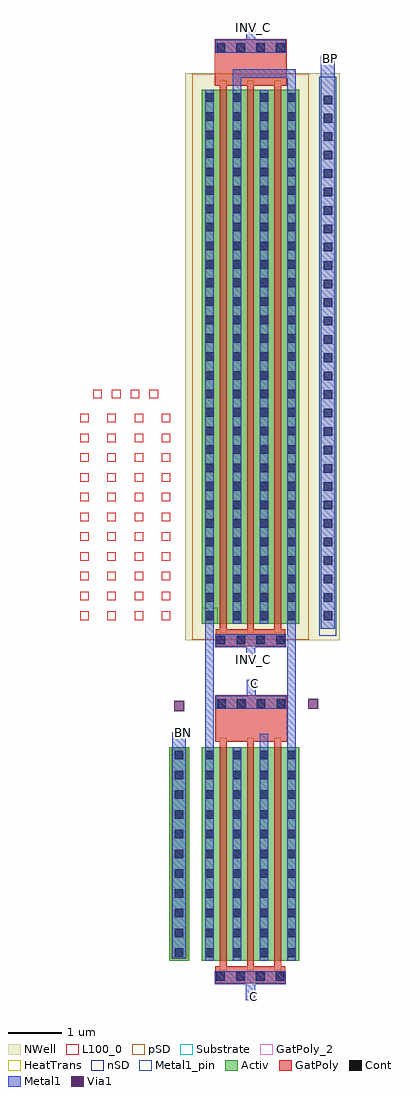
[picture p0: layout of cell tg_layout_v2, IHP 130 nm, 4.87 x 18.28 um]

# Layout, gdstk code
from math import pi, radians
import gdstk
lib = gdstk.Library(unit=1e-6, precision=1e-09)
def R(c, l, rs):  # rectangles x0, y0, x1, y1
    for r in rs: c.add(gdstk.rectangle(r[:2], r[2:], *l))
def A(c, l, x, y, w, h, nx, ny, dx, dy):  # array of equal rectangles
    R(c, l, [(x+i*dx, y+j*dy, x+i*dx+w, y+j*dy+h) for i in range(nx) for j in range(ny)])
Activ = (1, 0)
GatPoly = (5, 0)
GatPoly_2 = (5, 2)
Cont = (6, 0)
nSD = (7, 0)
Metal1 = (8, 0)
Metal1_pin = (8, 2)
pSD = (14, 0)
Via1 = (19, 0)
NWell = (31, 0)
Substrate = (40, 0)
HeatTrans = (51, 0)
L100_0 = (100, 0)

pmos_1 = lib.new_cell('pmos$1')
A(pmos_1, Activ, 0, 0, 0.3, 0.3, 4, 1, 0.51, 0)
R(pmos_1, Activ, [(0,0,1.83,10)])
A(pmos_1, GatPoly, 0.34, -0.18, 0.13, 10.36, 3, 1, 0.51, 0)
R(pmos_1, GatPoly, [(0.34,-0.18,0.47,10.18)])
A(pmos_1, Cont, 0.07, 0.07, 0.16, 0.16, 4, 4, 0.51, 0.345)
A(pmos_1, Cont, 0.07, 1.455, 0.16, 0.16, 4, 3, 0.51, 0.345)
A(pmos_1, Cont, 0.07, 2.495, 0.16, 0.16, 4, 4, 0.51, 0.345)
A(pmos_1, Cont, 0.07, 3.88, 0.16, 0.16, 4, 3, 0.51, 0.345)
A(pmos_1, Cont, 0.07, 4.92, 0.16, 0.16, 4, 4, 0.51, 0.345)
A(pmos_1, Cont, 0.07, 6.305, 0.16, 0.16, 4, 3, 0.51, 0.345)
A(pmos_1, Cont, 0.07, 7.345, 0.16, 0.16, 4, 4, 0.51, 0.345)
A(pmos_1, Cont, 0.07, 8.73, 0.16, 0.16, 4, 3, 0.51, 0.345)
A(pmos_1, Cont, 0.07, 9.77, 0.16, 0.16, 4, 1, 0.51, 0)
A(pmos_1, Metal1, 0.58, 0, 0.16, 10, 3, 1, 0.51, 0)
R(pmos_1, Metal1, [(0.07,0,0.23,10), (0.07,0,0.23,10), (0.58,0,0.74,10)])
R(pmos_1, pSD, [(-0.18,-0.3,2.01,10.3)])
R(pmos_1, NWell, [(-0.31,-0.31,2.14,10.31)])
R(pmos_1, Substrate, [(1.53,0,1.83,0.3)])
A(pmos_1, HeatTrans, 0.34, -0.18, 0.13, 10.36, 3, 1, 0.51, 0)
pmos_1.add(gdstk.Label('pmos', (0.405,5), layer=63, texttype=0))
pmos_1.add(gdstk.Label('pmos', (0.405,5), layer=51, texttype=0))
pmos_1.add(gdstk.Label('pmos', (0.915,5), layer=51, texttype=0))
pmos_1.add(gdstk.Label('pmos', (1.425,5), layer=51, texttype=0))

nmos = lib.new_cell('nmos')
A(nmos, Activ, 0, 0, 0.3, 0.3, 4, 1, 0.51, 0)
R(nmos, Activ, [(0,0,1.83,4)])
A(nmos, GatPoly, 0.34, -0.18, 0.13, 4.36, 3, 1, 0.51, 0)
R(nmos, GatPoly_2, [(0.34,-0.18,0.47,4.18)])
A(nmos, Cont, 0.07, 0.07, 0.16, 0.16, 4, 11, 0.51, 0.37)
A(nmos, Metal1, 0.07, 0, 0.16, 4, 4, 1, 0.51, 0)
R(nmos, Metal1_pin, [(0.07,0,0.23,4), (0.58,0,0.74,4)])
A(nmos, HeatTrans, 0.34, -0.18, 0.13, 4.36, 3, 1, 0.51, 0)
nmos.add(gdstk.Label('nmos', (0.405,2), layer=63, texttype=0))
nmos.add(gdstk.Label('nmos', (0.405,2), layer=51, texttype=0))
nmos.add(gdstk.Label('nmos', (0.915,2), layer=51, texttype=0))
nmos.add(gdstk.Label('nmos', (1.425,2), layer=51, texttype=0))

tg_layout_v2 = lib.new_cell('tg_layout_v2')
R(tg_layout_v2, Activ, [(-2.65,-6.709,-2.275,-2.709)])
R(tg_layout_v2, GatPoly, [(-1.783,-7.131,-0.478,-6.811), (-1.785,-2.61,-0.44,-1.74), (-1.775,-0.825,-0.47,-0.505), (-1.795,9.67,-0.45,10.54)])
A(tg_layout_v2, Cont, -1.763, -7.086, 0.16, 0.16, 4, 1, 0.37, 0)
A(tg_layout_v2, Cont, -2.545, -6.639, 0.16, 0.16, 1, 10, 0, 0.37)
A(tg_layout_v2, Cont, -1.748, -1.969, 0.16, 0.16, 4, 1, 0.37, 0)
A(tg_layout_v2, Cont, -1.755, -0.78, 0.16, 0.16, 4, 1, 0.37, 0)
A(tg_layout_v2, Cont, 0.245, -0.33, 0.16, 0.16, 1, 3, 0, 0.345)
A(tg_layout_v2, Cont, 0.244, 0.705, 0.16, 0.16, 1, 3, 0, 0.345)
A(tg_layout_v2, Cont, 0.244, 2.776, 0.16, 0.16, 1, 12, 0, 0.345)
A(tg_layout_v2, Cont, 0.244, 6.915, 0.16, 0.16, 1, 8, 0, 0.345)
A(tg_layout_v2, Cont, -1.758, 10.311, 0.16, 0.16, 4, 1, 0.37, 0)
R(tg_layout_v2, Cont, [(-2.545,-2.94,-2.385,-2.78), (0.244,1.741,0.404,1.901), (0.244,2.086,0.404,2.246), (0.244,2.43,0.404,2.59)])
R(tg_layout_v2, nSD, [(0.164,-0.625,0.484,9.845)])
R(tg_layout_v2, Metal1, [(-1.21,-7.445,-1.04,-6.91), (-1.793,-7.146,-0.468,-6.906), (-2.59,-6.664,-2.34,-2.429), (-1.97,-2.71,-1.81,-0.4), (-0.95,-2.71,-0.79,-2.46), (-0.95,-2.71,-0.79,-2.46), (-0.44,-2.71,-0.28,-0.4), (-1.778,-1.989,-0.453,-1.749), (-1.195,-1.985,-1.025,-1.45), (-1.202,-1.139,-1.032,-0.604), (-1.785,-0.84,-0.46,-0.6), (0.19,-0.495,0.45,10.235), (-1.46,9.6,-1.3,9.985), (-0.44,9.6,-0.28,9.985), (-1.3,9.825,-0.44,9.985), (-1.788,10.291,-0.463,10.531), (-1.205,10.295,-1.035,10.83)])
R(tg_layout_v2, pSD, [(-2.61,-6.674,-2.31,-2.744)])
R(tg_layout_v2, Via1, [(-2.555,-2.035,-2.365,-1.845), (-0.045,-1.995,0.145,-1.805)])
R(tg_layout_v2, NWell, [(0.099,-0.71,0.55,9.91)])
A(tg_layout_v2, L100_0, -4.073, 3.823, 0.162, 0.162, 4, 1, 0.352, 0)
R(tg_layout_v2, L100_0, [(-4.317,-0.33,-4.155,-0.168), (-4.317,-0.33,-4.155,-0.168), (-3.807,-0.33,-3.645,-0.168), (-3.807,-0.33,-3.645,-0.168), (-3.297,-0.33,-3.135,-0.168), (-3.297,-0.33,-3.135,-0.168), (-2.787,-0.33,-2.625,-0.168), (-2.787,-0.33,-2.625,-0.168), (-1.97,-0.33,-1.808,-0.168), (-1.97,-0.33,-1.808,-0.168), (-1.46,-0.33,-1.298,-0.168), (-1.46,-0.33,-1.298,-0.168), (-0.95,-0.33,-0.788,-0.168), (-0.95,-0.33,-0.788,-0.168), (-0.44,-0.33,-0.278,-0.168), (-0.44,-0.33,-0.278,-0.168), (-1.97,0.015,-1.808,0.177), (-1.97,0.015,-1.808,0.177), (-1.46,0.015,-1.298,0.177), (-1.46,0.015,-1.298,0.177), (-0.95,0.015,-0.788,0.177), (-0.95,0.015,-0.788,0.177), (-0.44,0.015,-0.278,0.177), (-0.44,0.015,-0.278,0.177), (-4.317,0.04,-4.155,0.202), (-4.317,0.04,-4.155,0.202), (-3.807,0.04,-3.645,0.202), (-3.807,0.04,-3.645,0.202), (-3.297,0.04,-3.135,0.202), (-3.297,0.04,-3.135,0.202), (-2.787,0.04,-2.625,0.202), (-2.787,0.04,-2.625,0.202), (-1.97,0.36,-1.808,0.522), (-1.97,0.36,-1.808,0.522), (-1.46,0.36,-1.298,0.522), (-1.46,0.36,-1.298,0.522), (-0.95,0.36,-0.788,0.522), (-0.95,0.36,-0.788,0.522), (-0.44,0.36,-0.278,0.522), (-0.44,0.36,-0.278,0.522), (-4.317,0.41,-4.155,0.572), (-4.317,0.41,-4.155,0.572), (-3.807,0.41,-3.645,0.572), (-3.807,0.41,-3.645,0.572), (-3.297,0.41,-3.135,0.572), (-3.297,0.41,-3.135,0.572), (-2.787,0.41,-2.625,0.572), (-2.787,0.41,-2.625,0.572), (-1.97,0.705,-1.808,0.867), (-1.97,0.705,-1.808,0.867), (-1.46,0.705,-1.298,0.867), (-1.46,0.705,-1.298,0.867), (-0.95,0.705,-0.788,0.867), (-0.95,0.705,-0.788,0.867), (-0.44,0.705,-0.278,0.867), (-0.44,0.705,-0.278,0.867), (-4.317,0.78,-4.155,0.942), (-4.317,0.78,-4.155,0.942), (-3.807,0.78,-3.645,0.942), (-3.807,0.78,-3.645,0.942), (-3.297,0.78,-3.135,0.942), (-3.297,0.78,-3.135,0.942), (-2.787,0.78,-2.625,0.942), (-2.787,0.78,-2.625,0.942), (-1.97,1.055,-1.808,1.217), (-1.97,1.055,-1.808,1.217), (-1.46,1.055,-1.298,1.217), (-1.46,1.055,-1.298,1.217), (-0.95,1.055,-0.788,1.217), (-0.95,1.055,-0.788,1.217), (-0.44,1.055,-0.278,1.217), (-0.44,1.055,-0.278,1.217), (-4.317,1.15,-4.155,1.312), (-4.317,1.15,-4.155,1.312), (-3.807,1.15,-3.645,1.312), (-3.807,1.15,-3.645,1.312), (-3.297,1.15,-3.135,1.312), (-3.297,1.15,-3.135,1.312), (-2.787,1.15,-2.625,1.312), (-2.787,1.15,-2.625,1.312), (-1.97,1.4,-1.808,1.562), (-1.97,1.4,-1.808,1.562), (-1.46,1.4,-1.298,1.562), (-1.46,1.4,-1.298,1.562), (-0.95,1.4,-0.788,1.562), (-0.95,1.4,-0.788,1.562), (-0.44,1.4,-0.278,1.562), (-0.44,1.4,-0.278,1.562), (-4.317,1.52,-4.155,1.682), (-4.317,1.52,-4.155,1.682), (-3.807,1.52,-3.645,1.682), (-3.807,1.52,-3.645,1.682), (-3.297,1.52,-3.135,1.682), (-3.297,1.52,-3.135,1.682), (-2.787,1.52,-2.625,1.682), (-2.787,1.52,-2.625,1.682), (-1.97,1.745,-1.808,1.907), (-1.97,1.745,-1.808,1.907), (-1.46,1.745,-1.298,1.907), (-1.46,1.745,-1.298,1.907), (-0.95,1.745,-0.788,1.907), (-0.95,1.745,-0.788,1.907), (-0.44,1.745,-0.278,1.907), (-0.44,1.745,-0.278,1.907), (-4.317,1.89,-4.155,2.052), (-4.317,1.89,-4.155,2.052), (-3.807,1.89,-3.645,2.052), (-3.807,1.89,-3.645,2.052), (-3.297,1.89,-3.135,2.052), (-3.297,1.89,-3.135,2.052), (-2.787,1.89,-2.625,2.052), (-2.787,1.89,-2.625,2.052), (-1.97,2.095,-1.808,2.257), (-1.97,2.095,-1.808,2.257), (-1.46,2.095,-1.298,2.257), (-1.46,2.095,-1.298,2.257), (-0.95,2.095,-0.788,2.257), (-0.95,2.095,-0.788,2.257), (-0.44,2.095,-0.278,2.257), (-0.44,2.095,-0.278,2.257), (-4.317,2.26,-4.155,2.422), (-4.317,2.26,-4.155,2.422), (-3.807,2.26,-3.645,2.422), (-3.807,2.26,-3.645,2.422), (-3.297,2.26,-3.135,2.422), (-3.297,2.26,-3.135,2.422), (-2.787,2.26,-2.625,2.422), (-2.787,2.26,-2.625,2.422), (-1.97,2.44,-1.808,2.602), (-1.97,2.44,-1.808,2.602), (-1.46,2.44,-1.298,2.602), (-1.46,2.44,-1.298,2.602), (-0.95,2.44,-0.788,2.602), (-0.95,2.44,-0.788,2.602), (-0.44,2.44,-0.278,2.602), (-0.44,2.44,-0.278,2.602), (-4.317,2.63,-4.155,2.792), (-4.317,2.63,-4.155,2.792), (-3.807,2.63,-3.645,2.792), (-3.807,2.63,-3.645,2.792), (-3.297,2.63,-3.135,2.792), (-3.297,2.63,-3.135,2.792), (-2.787,2.63,-2.625,2.792), (-2.787,2.63,-2.625,2.792), (-1.97,2.785,-1.808,2.947), (-1.97,2.785,-1.808,2.947), (-1.46,2.785,-1.298,2.947), (-1.46,2.785,-1.298,2.947), (-0.95,2.785,-0.788,2.947), (-0.95,2.785,-0.788,2.947), (-0.44,2.785,-0.278,2.947), (-0.44,2.785,-0.278,2.947), (-4.317,3,-4.155,3.162), (-4.317,3,-4.155,3.162), (-3.807,3,-3.645,3.162), (-3.807,3,-3.645,3.162), (-3.297,3,-3.135,3.162), (-3.297,3,-3.135,3.162), (-2.787,3,-2.625,3.162), (-2.787,3,-2.625,3.162), (-1.97,3.13,-1.808,3.292), (-1.97,3.13,-1.808,3.292), (-1.46,3.13,-1.298,3.292), (-1.46,3.13,-1.298,3.292), (-0.95,3.13,-0.788,3.292), (-0.95,3.13,-0.788,3.292), (-0.44,3.13,-0.278,3.292), (-0.44,3.13,-0.278,3.292), (-4.317,3.37,-4.155,3.532), (-4.317,3.37,-4.155,3.532), (-3.807,3.37,-3.645,3.532), (-3.807,3.37,-3.645,3.532), (-3.297,3.37,-3.135,3.532), (-3.297,3.37,-3.135,3.532), (-2.787,3.37,-2.625,3.532), (-2.787,3.37,-2.625,3.532), (-1.97,3.48,-1.808,3.642), (-1.97,3.48,-1.808,3.642), (-1.46,3.48,-1.298,3.642), (-1.46,3.48,-1.298,3.642), (-0.95,3.48,-0.788,3.642), (-0.95,3.48,-0.788,3.642), (-0.44,3.48,-0.278,3.642), (-0.44,3.48,-0.278,3.642), (-1.97,3.825,-1.808,3.987), (-1.97,3.825,-1.808,3.987), (-1.46,3.825,-1.298,3.987), (-1.46,3.825,-1.298,3.987), (-0.95,3.825,-0.788,3.987), (-0.95,3.825,-0.788,3.987), (-0.44,3.825,-0.278,3.987), (-0.44,3.825,-0.278,3.987), (-1.97,4.17,-1.808,4.332), (-1.97,4.17,-1.808,4.332), (-1.46,4.17,-1.298,4.332), (-1.46,4.17,-1.298,4.332), (-0.95,4.17,-0.788,4.332), (-0.95,4.17,-0.788,4.332), (-0.44,4.17,-0.278,4.332), (-0.44,4.17,-0.278,4.332), (-1.97,4.52,-1.808,4.682), (-1.97,4.52,-1.808,4.682), (-1.46,4.52,-1.298,4.682), (-1.46,4.52,-1.298,4.682), (-0.95,4.52,-0.788,4.682), (-0.95,4.52,-0.788,4.682), (-0.44,4.52,-0.278,4.682), (-0.44,4.52,-0.278,4.682), (-1.97,4.865,-1.808,5.027), (-1.97,4.865,-1.808,5.027), (-1.46,4.865,-1.298,5.027), (-1.46,4.865,-1.298,5.027), (-0.95,4.865,-0.788,5.027), (-0.95,4.865,-0.788,5.027), (-0.44,4.865,-0.278,5.027), (-0.44,4.865,-0.278,5.027), (-1.97,5.21,-1.808,5.372), (-1.97,5.21,-1.808,5.372), (-1.46,5.21,-1.298,5.372), (-1.46,5.21,-1.298,5.372), (-0.95,5.21,-0.788,5.372), (-0.95,5.21,-0.788,5.372), (-0.44,5.21,-0.278,5.372), (-0.44,5.21,-0.278,5.372), (-1.97,5.555,-1.808,5.717), (-1.97,5.555,-1.808,5.717), (-1.46,5.555,-1.298,5.717), (-1.46,5.555,-1.298,5.717), (-0.95,5.555,-0.788,5.717), (-0.95,5.555,-0.788,5.717), (-0.44,5.555,-0.278,5.717), (-0.44,5.555,-0.278,5.717), (-1.97,5.905,-1.808,6.067), (-1.97,5.905,-1.808,6.067), (-1.46,5.905,-1.298,6.067), (-1.46,5.905,-1.298,6.067), (-0.95,5.905,-0.788,6.067), (-0.95,5.905,-0.788,6.067), (-0.44,5.905,-0.278,6.067), (-0.44,5.905,-0.278,6.067), (-1.97,6.25,-1.808,6.412), (-1.97,6.25,-1.808,6.412), (-1.46,6.25,-1.298,6.412), (-1.46,6.25,-1.298,6.412), (-0.95,6.25,-0.788,6.412), (-0.95,6.25,-0.788,6.412), (-0.44,6.25,-0.278,6.412), (-0.44,6.25,-0.278,6.412), (-1.97,6.595,-1.808,6.757), (-1.97,6.595,-1.808,6.757), (-1.46,6.595,-1.298,6.757), (-1.46,6.595,-1.298,6.757), (-0.95,6.595,-0.788,6.757), (-0.95,6.595,-0.788,6.757), (-0.44,6.595,-0.278,6.757), (-0.44,6.595,-0.278,6.757), (-1.97,6.945,-1.808,7.107), (-1.97,6.945,-1.808,7.107), (-1.46,6.945,-1.298,7.107), (-1.46,6.945,-1.298,7.107), (-0.95,6.945,-0.788,7.107), (-0.95,6.945,-0.788,7.107), (-0.44,6.945,-0.278,7.107), (-0.44,6.945,-0.278,7.107), (-1.97,7.29,-1.808,7.452), (-1.97,7.29,-1.808,7.452), (-1.46,7.29,-1.298,7.452), (-1.46,7.29,-1.298,7.452), (-0.95,7.29,-0.788,7.452), (-0.95,7.29,-0.788,7.452), (-0.44,7.29,-0.278,7.452), (-0.44,7.29,-0.278,7.452), (-1.97,7.635,-1.808,7.797), (-1.97,7.635,-1.808,7.797), (-1.46,7.635,-1.298,7.797), (-1.46,7.635,-1.298,7.797), (-0.95,7.635,-0.788,7.797), (-0.95,7.635,-0.788,7.797), (-0.44,7.635,-0.278,7.797), (-0.44,7.635,-0.278,7.797), (-1.97,7.98,-1.808,8.142), (-1.97,7.98,-1.808,8.142), (-1.46,7.98,-1.298,8.142), (-1.46,7.98,-1.298,8.142), (-0.95,7.98,-0.788,8.142), (-0.95,7.98,-0.788,8.142), (-0.44,7.98,-0.278,8.142), (-0.44,7.98,-0.278,8.142), (-1.97,8.33,-1.808,8.492), (-1.97,8.33,-1.808,8.492), (-1.46,8.33,-1.298,8.492), (-1.46,8.33,-1.298,8.492), (-0.95,8.33,-0.788,8.492), (-0.95,8.33,-0.788,8.492), (-0.44,8.33,-0.278,8.492), (-0.44,8.33,-0.278,8.492), (-1.97,8.675,-1.808,8.837), (-1.97,8.675,-1.808,8.837), (-1.46,8.675,-1.298,8.837), (-1.46,8.675,-1.298,8.837), (-0.95,8.675,-0.788,8.837), (-0.95,8.675,-0.788,8.837), (-0.44,8.675,-0.278,8.837), (-0.44,8.675,-0.278,8.837), (-1.97,9.02,-1.808,9.182), (-1.97,9.02,-1.808,9.182), (-1.46,9.02,-1.298,9.182), (-1.46,9.02,-1.298,9.182), (-0.95,9.02,-0.788,9.182), (-0.95,9.02,-0.788,9.182), (-0.44,9.02,-0.278,9.182), (-0.44,9.02,-0.278,9.182), (-1.97,9.37,-1.808,9.532), (-1.97,9.37,-1.808,9.532), (-1.46,9.37,-1.298,9.532), (-1.46,9.37,-1.298,9.532), (-0.95,9.37,-0.788,9.532), (-0.95,9.37,-0.788,9.532), (-0.44,9.37,-0.278,9.532), (-0.44,9.37,-0.278,9.532)])
tg_layout_v2.add(gdstk.Reference(pmos_1, (-0.21,-0.4), rotation=pi, x_reflection=True))
tg_layout_v2.add(gdstk.Reference(nmos, (-0.21,-6.71), rotation=pi, x_reflection=True))
tg_layout_v2.add(gdstk.Label('INV_C', (-1.06,10.765), layer=8, texttype=2))
tg_layout_v2.add(gdstk.Label('INV_C', (-1.06,-1.07), layer=8, texttype=2))
tg_layout_v2.add(gdstk.Label('C', (-1.05,-1.515), layer=8, texttype=2))
tg_layout_v2.add(gdstk.Label('BP', (0.375,10.185), layer=8, texttype=2))
tg_layout_v2.add(gdstk.Label('BN', (-2.38,-2.44), layer=8, texttype=2))
tg_layout_v2.add(gdstk.Label('C', (-1.07,-7.38), layer=8, texttype=2))

lib.write_gds('tg_layout_v2.gds')
